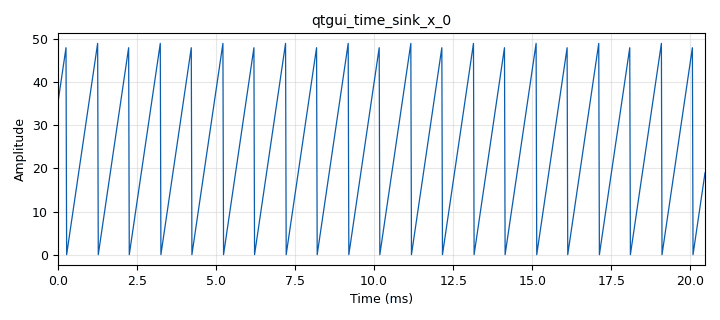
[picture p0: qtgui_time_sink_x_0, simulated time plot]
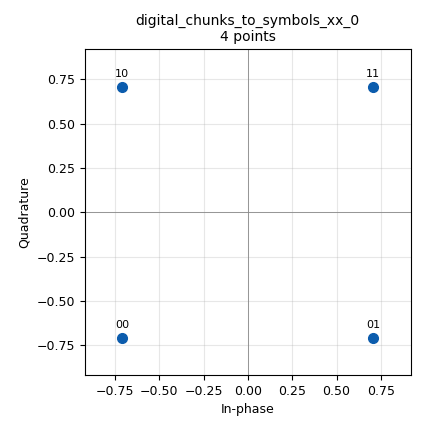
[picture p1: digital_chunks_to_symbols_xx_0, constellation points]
<?xml version='1.0' encoding='utf-8'?>
<?grc format='1' created='3.7.10'?>
<flow_graph>
<block>
<key>options</key>
<param><key>id</key><value>fec_tagged_example</value></param>
<param><key>generate_options</key><value>qt_gui</value></param>
</block>
<block>
<key>variable_qtgui_range</key>
<param><key>id</key><value>PNoise</value></param>
<param><key>value</key><value>.5</value></param>
<param><key>label</key><value>Noise Power</value></param>
<param><key>orient</key><value>Qt.Horizontal</value></param>
<param><key>start</key><value>0</value></param>
<param><key>step</key><value>.01</value></param>
<param><key>stop</key><value>2</value></param>
</block>
<block>
<key>variable_cc_decoder_def</key>
<param><key>id</key><value>dec_cc</value></param>
<param><key>padding</key><value>True</value></param>
<param><key>k</key><value>k</value></param>
<param><key>dim1</key><value>1</value></param>
<param><key>state_end</key><value>-1</value></param>
<param><key>framebits</key><value>MTU*8</value></param>
<param><key>ndim</key><value>1</value></param>
<param><key>polys</key><value>polys</value></param>
<param><key>rate</key><value>rate</value></param>
<param><key>state_start</key><value>0</value></param>
<param><key>mode</key><value>fec.CC_TERMINATED</value></param>
</block>
<block>
<key>variable_repetition_decoder_def</key>
<param><key>id</key><value>dec_rep</value></param>
<param><key>dim1</key><value>1</value></param>
<param><key>framebits</key><value>MTU*8</value></param>
<param><key>ndim</key><value>1</value></param>
<param><key>rep</key><value>rep</value></param>
<param><key>prob</key><value>0.5</value></param>
</block>
<block>
<key>variable_cc_encoder_def</key>
<param><key>id</key><value>enc_cc</value></param>
<param><key>padding</key><value>True</value></param>
<param><key>k</key><value>k</value></param>
<param><key>framebits</key><value>MTU*8</value></param>
<param><key>ndim</key><value>0</value></param>
<param><key>polys</key><value>polys</value></param>
<param><key>rate</key><value>rate</value></param>
<param><key>state_start</key><value>0</value></param>
<param><key>mode</key><value>fec.CC_TERMINATED</value></param>
</block>
<block>
<key>variable_repetition_encoder_def</key>
<param><key>id</key><value>enc_rep</value></param>
<param><key>dim1</key><value>1</value></param>
<param><key>framebits</key><value>MTU*8</value></param>
<param><key>ndim</key><value>1</value></param>
<param><key>rep</key><value>rep</value></param>
</block>
<block>
<key>variable</key>
<param><key>id</key><value>k</value></param>
<param><key>value</key><value>7</value></param>
</block>
<block>
<key>variable</key>
<param><key>id</key><value>len_tag_key</value></param>
<param><key>value</key><value>"packet_len"</value></param>
</block>
<block>
<key>variable</key>
<param><key>id</key><value>mod</value></param>
<param><key>value</key><value>digital.constellation_qpsk()</value></param>
</block>
<block>
<key>variable</key>
<param><key>id</key><value>polys</value></param>
<param><key>value</key><value>[109, 79]</value></param>
</block>
<block>
<key>variable</key>
<param><key>id</key><value>rate</value></param>
<param><key>value</key><value>2</value></param>
</block>
<block>
<key>variable</key>
<param><key>id</key><value>rep</value></param>
<param><key>value</key><value>10</value></param>
</block>
<block>
<key>variable</key>
<param><key>id</key><value>samp_rate</value></param>
<param><key>value</key><value>.5e5</value></param>
</block>
<block>
<key>parameter</key>
<param><key>id</key><value>MTU</value></param>
<param><key>label</key><value>MTU</value></param>
<param><key>type</key><value>intx</value></param>
<param><key>value</key><value>1500</value></param>
</block>
<block>
<key>analog_noise_source_x</key>
<param><key>id</key><value>analog_noise_source_x_0</value></param>
<param><key>amp</key><value>PNoise</value></param>
<param><key>noise_type</key><value>analog.GR_GAUSSIAN</value></param>
<param><key>type</key><value>complex</value></param>
<param><key>seed</key><value>0</value></param>
</block>
<block>
<key>blocks_add_xx</key>
<param><key>id</key><value>blocks_add_xx_0</value></param>
<param><key>type</key><value>complex</value></param>
</block>
<block>
<key>blocks_char_to_float</key>
<param><key>id</key><value>blocks_char_to_float_1</value></param>
<param><key>scale</key><value>1</value></param>
</block>
<block>
<key>blocks_char_to_float</key>
<param><key>id</key><value>blocks_char_to_float_1_0</value></param>
<param><key>scale</key><value>1</value></param>
</block>
<block>
<key>blocks_repack_bits_bb</key>
<param><key>id</key><value>blocks_repack_bits_bb_0</value></param>
<param><key>k</key><value>8</value></param>
<param><key>l</key><value>1</value></param>
<param><key>endianness</key><value>gr.GR_LSB_FIRST</value></param>
<param><key>len_tag_key</key><value>len_tag_key</value></param>
</block>
<block>
<key>blocks_repack_bits_bb</key>
<param><key>id</key><value>blocks_repack_bits_bb_0_0</value></param>
<param><key>k</key><value>1</value></param>
<param><key>l</key><value>8</value></param>
<param><key>endianness</key><value>gr.GR_LSB_FIRST</value></param>
<param><key>len_tag_key</key><value>len_tag_key</value></param>
</block>
<block>
<key>blocks_repack_bits_bb</key>
<param><key>id</key><value>blocks_repack_bits_bb_0_1</value></param>
<param><key>k</key><value>1</value></param>
<param><key>l</key><value>mod.bits_per_symbol()</value></param>
<param><key>endianness</key><value>gr.GR_LSB_FIRST</value></param>
<param><key>len_tag_key</key><value></value></param>
</block>
<block>
<key>blocks_repack_bits_bb</key>
<param><key>id</key><value>blocks_repack_bits_bb_0_1_0</value></param>
<param><key>k</key><value>mod.bits_per_symbol()</value></param>
<param><key>l</key><value>1</value></param>
<param><key>endianness</key><value>gr.GR_LSB_FIRST</value></param>
<param><key>len_tag_key</key><value></value></param>
</block>
<block>
<key>blocks_stream_to_tagged_stream</key>
<param><key>id</key><value>blocks_stream_to_tagged_stream_0</value></param>
<param><key>len_tag_key</key><value>len_tag_key</value></param>
<param><key>packet_len</key><value>100</value></param>
<param><key>type</key><value>byte</value></param>
</block>
<block>
<key>blocks_throttle</key>
<param><key>id</key><value>blocks_throttle_0</value></param>
<param><key>samples_per_second</key><value>samp_rate</value></param>
<param><key>type</key><value>byte</value></param>
</block>
<block>
<key>blocks_vector_source_x</key>
<param><key>id</key><value>blocks_vector_source_x_0</value></param>
<param><key>type</key><value>byte</value></param>
<param><key>repeat</key><value>True</value></param>
<param><key>vector</key><value>range(50)</value></param>
</block>
<block>
<key>fec_extended_tagged_decoder</key>
<param><key>id</key><value>cwsa</value></param>
<param><key>decoder_list</key><value>dec_cc</value></param>
<param><key>lentagname</key><value>len_tag_key</value></param>
<param><key>mtu</key><value>1500</value></param>
<param><key>puncpat</key><value>puncpat</value></param>
</block>
<block>
<key>digital_chunks_to_symbols_xx</key>
<param><key>id</key><value>digital_chunks_to_symbols_xx_0</value></param>
<param><key>dimension</key><value>1</value></param>
<param><key>in_type</key><value>byte</value></param>
<param><key>out_type</key><value>complex</value></param>
<param><key>symbol_table</key><value>mod.points()</value></param>
</block>
<block>
<key>digital_constellation_decoder_cb</key>
<param><key>id</key><value>digital_constellation_decoder_cb_0</value></param>
<param><key>constellation</key><value>mod.base()</value></param>
</block>
<block>
<key>digital_map_bb</key>
<param><key>id</key><value>digital_map_bb_0</value></param>
<param><key>map</key><value>[-1, 1]</value></param>
</block>
<block>
<key>fec_extended_decoder</key>
<param><key>id</key><value>fec_extended_decoder_0</value></param>
<param><key>decoder_list</key><value>dec_cc</value></param>
<param><key>_enabled</key><value>0</value></param>
<param><key>puncpat</key><value>'11'</value></param>
<param><key>threadtype</key><value>capillary</value></param>
</block>
<block>
<key>fec_extended_tagged_encoder</key>
<param><key>id</key><value>fec_extended_tagged_encoder_0_0</value></param>
<param><key>encoder_list</key><value>enc_cc</value></param>
<param><key>lentagname</key><value>len_tag_key</value></param>
<param><key>mtu</key><value>MTU</value></param>
<param><key>puncpat</key><value>puncpat</value></param>
</block>
<block>
<key>parameter</key>
<param><key>id</key><value>puncpat</value></param>
<param><key>type</key><value>string</value></param>
<param><key>value</key><value>'11'</value></param>
</block>
<block>
<key>qtgui_time_sink_x</key>
<param><key>id</key><value>qtgui_time_sink_x_0</value></param>
<param><key>autoscale</key><value>True</value></param>
<param><key>color1</key><value>"blue"</value></param>
<param><key>label1</key><value></value></param>
<param><key>size</key><value>1024</value></param>
<param><key>srate</key><value>samp_rate</value></param>
<param><key>type</key><value>float</value></param>
</block>
<block>
<key>virtual_sink</key>
<param><key>id</key><value>virtual_sink_0</value></param>
<param><key>stream_id</key><value>coded</value></param>
</block>
<block>
<key>virtual_sink</key>
<param><key>id</key><value>virtual_sink_2</value></param>
<param><key>stream_id</key><value>noise</value></param>
</block>
<block>
<key>virtual_source</key>
<param><key>id</key><value>virtual_source_0_0</value></param>
<param><key>stream_id</key><value>coded</value></param>
</block>
<block>
<key>virtual_source</key>
<param><key>id</key><value>virtual_source_3</value></param>
<param><key>stream_id</key><value>noise</value></param>
</block>
<connection><source_block_id>analog_noise_source_x_0</source_block_id><sink_block_id>virtual_sink_2</sink_block_id><source_key>0</source_key><sink_key>0</sink_key></connection>
<connection><source_block_id>blocks_add_xx_0</source_block_id><sink_block_id>digital_constellation_decoder_cb_0</sink_block_id><source_key>0</source_key><sink_key>0</sink_key></connection>
<connection><source_block_id>blocks_char_to_float_1</source_block_id><sink_block_id>cwsa</sink_block_id><source_key>0</source_key><sink_key>0</sink_key></connection>
<connection><source_block_id>blocks_char_to_float_1</source_block_id><sink_block_id>fec_extended_decoder_0</sink_block_id><source_key>0</source_key><sink_key>0</sink_key></connection>
<connection><source_block_id>blocks_char_to_float_1_0</source_block_id><sink_block_id>qtgui_time_sink_x_0</sink_block_id><source_key>0</source_key><sink_key>0</sink_key></connection>
<connection><source_block_id>blocks_repack_bits_bb_0</source_block_id><sink_block_id>fec_extended_tagged_encoder_0_0</sink_block_id><source_key>0</source_key><sink_key>0</sink_key></connection>
<connection><source_block_id>blocks_repack_bits_bb_0_0</source_block_id><sink_block_id>blocks_char_to_float_1_0</sink_block_id><source_key>0</source_key><sink_key>0</sink_key></connection>
<connection><source_block_id>blocks_repack_bits_bb_0_1</source_block_id><sink_block_id>digital_chunks_to_symbols_xx_0</sink_block_id><source_key>0</source_key><sink_key>0</sink_key></connection>
<connection><source_block_id>blocks_repack_bits_bb_0_1_0</source_block_id><sink_block_id>digital_map_bb_0</sink_block_id><source_key>0</source_key><sink_key>0</sink_key></connection>
<connection><source_block_id>blocks_stream_to_tagged_stream_0</source_block_id><sink_block_id>blocks_throttle_0</sink_block_id><source_key>0</source_key><sink_key>0</sink_key></connection>
<connection><source_block_id>blocks_throttle_0</source_block_id><sink_block_id>blocks_repack_bits_bb_0</sink_block_id><source_key>0</source_key><sink_key>0</sink_key></connection>
<connection><source_block_id>blocks_vector_source_x_0</source_block_id><sink_block_id>blocks_stream_to_tagged_stream_0</sink_block_id><source_key>0</source_key><sink_key>0</sink_key></connection>
<connection><source_block_id>cwsa</source_block_id><sink_block_id>blocks_repack_bits_bb_0_0</sink_block_id><source_key>0</source_key><sink_key>0</sink_key></connection>
<connection><source_block_id>digital_chunks_to_symbols_xx_0</source_block_id><sink_block_id>virtual_sink_0</sink_block_id><source_key>0</source_key><sink_key>0</sink_key></connection>
<connection><source_block_id>digital_constellation_decoder_cb_0</source_block_id><sink_block_id>blocks_repack_bits_bb_0_1_0</sink_block_id><source_key>0</source_key><sink_key>0</sink_key></connection>
<connection><source_block_id>digital_map_bb_0</source_block_id><sink_block_id>blocks_char_to_float_1</sink_block_id><source_key>0</source_key><sink_key>0</sink_key></connection>
<connection><source_block_id>fec_extended_decoder_0</source_block_id><sink_block_id>blocks_repack_bits_bb_0_0</sink_block_id><source_key>0</source_key><sink_key>0</sink_key></connection>
<connection><source_block_id>fec_extended_tagged_encoder_0_0</source_block_id><sink_block_id>blocks_repack_bits_bb_0_1</sink_block_id><source_key>0</source_key><sink_key>0</sink_key></connection>
<connection><source_block_id>virtual_source_0_0</source_block_id><sink_block_id>blocks_add_xx_0</sink_block_id><source_key>0</source_key><sink_key>0</sink_key></connection>
<connection><source_block_id>virtual_source_3</source_block_id><sink_block_id>blocks_add_xx_0</sink_block_id><source_key>0</source_key><sink_key>1</sink_key></connection>
</flow_graph>
